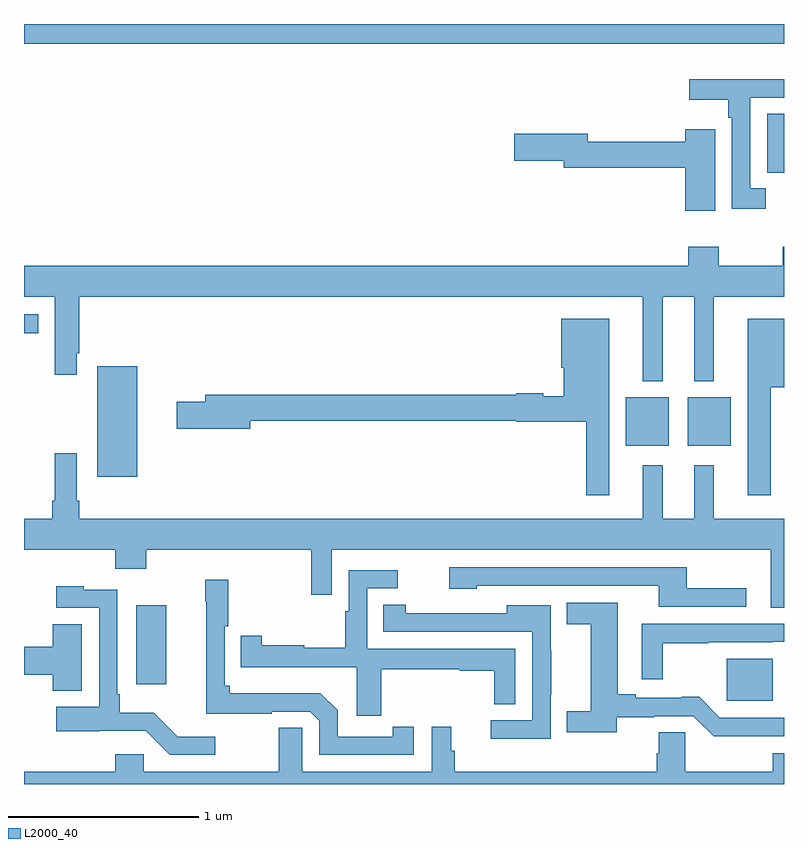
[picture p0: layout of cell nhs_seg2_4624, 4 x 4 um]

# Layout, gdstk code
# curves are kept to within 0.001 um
import gdstk
lib = gdstk.Library(unit=1e-6, precision=1e-09)
def R(c, l, rs):  # rectangles x0, y0, x1, y1
    for r in rs: c.add(gdstk.rectangle(r[:2], r[2:], *l))
def P(c, l, *ps):  # polygons
    for p in ps: c.add(gdstk.Polygon(p, *l))
L2000_40 = (2000, 40)

nhs_seg2_4624 = lib.new_cell('nhs_seg2_4624')
R(nhs_seg2_4624, L2000_40, [(366.698,584.237,366.94,584.458), (363.59,584.325,363.748,584.74), (363.386,585.416,363.595,586), (366.167,585.581,366.394,585.835), (366.494,585.581,366.721,585.835), (363,586.172,363.076,586.273), (366.911,587.016,367,587.327), (363,587.696,367,587.8)])
P(nhs_seg2_4624, L2000_40, [(366.904,586.935),(366.822,586.935),(366.822,587.412),(367,587.412),(367,587.508),(366.919,587.508),(366.919,587.51),(366.501,587.51),(366.501,587.402),(366.706,587.402),(366.706,587.306),(366.726,587.306),(366.726,586.827),(366.904,586.827)],
  [(366.637,587.245),(366.479,587.245),(366.479,587.18),(365.968,587.18),(365.968,587.223),(365.58,587.223),(365.58,587.081),(365.84,587.081),(365.84,587.044),(366.479,587.044),(366.479,586.818),(366.637,586.818)],
  [(366.361,586.364),(366.527,586.364),(366.527,585.92),(366.631,585.92),(366.631,586.364),(367,586.364),(367,586.627),(366.994,586.627),(366.994,586.528),(366.657,586.528),(366.657,586.627),(366.497,586.627),(366.497,586.528),(363,586.528),(363,586.364),(363.161,586.364),(363.161,585.954),(363.277,585.954),(363.277,586.066),(363.29,586.066),(363.29,586.364),(366.257,586.364),(366.257,585.92),(366.361,585.92)],
  [(366.079,586.249),(365.828,586.249),(365.828,585.99),(365.84,585.99),(365.84,585.841),(365.732,585.841),(365.732,585.856),(365.592,585.856),(365.592,585.848),(363.953,585.848),(363.953,585.812),(363.804,585.812),(363.804,585.67),(364.192,585.67),(364.192,585.712),(365.592,585.712),(365.592,585.707),(365.958,585.707),(365.958,585.321),(366.079,585.321)],
  [(366.931,585.887),(367,585.887),(367,586.249),(366.809,586.249),(366.809,585.321),(366.931,585.321)],
  [(367,585.196),(366.631,585.196),(366.631,585.478),(366.527,585.478),(366.527,585.196),(366.361,585.196),(366.361,585.478),(366.257,585.478),(366.257,585.196),(363.29,585.196),(363.29,585.292),(363.277,585.292),(363.277,585.541),(363.161,585.541),(363.161,585.292),(363.149,585.292),(363.149,585.196),(363,585.196),(363,585.032),(363.479,585.032),(363.479,584.933),(363.644,584.933),(363.644,585.032),(364.512,585.032),(364.512,584.796),(364.62,584.796),(364.62,585.032),(366.929,585.032),(366.929,584.728),(367,584.728)],
  [(366.802,584.831),(366.489,584.831),(366.489,584.94),(365.238,584.94),(365.238,584.828),(365.382,584.828),(365.382,584.844),(366.341,584.844),(366.341,584.733),(366.802,584.733)],
  [(364.879,584.403),(365.293,584.403),(365.293,584.395),(365.474,584.395),(365.474,584.221),(365.586,584.221),(365.586,584.511),(364.806,584.511),(364.806,584.829),(364.966,584.829),(364.966,584.925),(364.71,584.925),(364.71,584.708),(364.69,584.708),(364.69,584.516),(364.476,584.516),(364.476,584.531),(364.252,584.531),(364.252,584.581),(364.141,584.581),(364.141,584.414),(364.751,584.414),(364.751,584.16),(364.879,584.16)],
  [(365.05,584.101),(364.94,584.101),(364.94,584.049),(364.65,584.049),(364.65,584.187),(364.559,584.278),(364.084,584.278),(364.084,584.316),(364.056,584.316),(364.056,584.63),(364.076,584.63),(364.076,584.875),(363.953,584.875),(363.953,584.762),(363.959,584.762),(363.959,584.169),(364.303,584.169),(364.303,584.181),(364.506,584.181),(364.554,584.133),(364.554,583.953),(365.05,583.953)],
  [(364.006,584.05),(363.808,584.05),(363.682,584.176),(363.505,584.176),(363.505,584.272),(363.492,584.272),(363.492,584.823),(363.315,584.823),(363.315,584.842),(363.171,584.842),(363.171,584.727),(363.396,584.727),(363.396,584.206),(363.171,584.206),(363.171,584.078),(363.641,584.079),(363.767,583.953),(364.006,583.953)],
  [(366.851,584.052),(367,584.052),(367,584.148),(366.663,584.148),(366.553,584.258),(366.461,584.258),(366.461,584.253),(366.22,584.253),(366.22,584.273),(366.124,584.273),(366.124,584.755),(365.857,584.755),(365.857,584.641),(365.984,584.641),(365.984,584.183),(365.857,584.183),(365.857,584.072),(366.121,584.072),(366.121,584.152),(366.318,584.152),(366.318,584.157),(366.522,584.157),(366.629,584.051)],
  [(365.772,584.269),(365.774,584.269),(365.774,584.504),(365.772,584.504),(365.772,584.74),(365.54,584.74),(365.54,584.698),(365.01,584.698),(365.01,584.744),(364.891,584.744),(364.891,584.601),(365.676,584.601),(365.676,584.136),(365.457,584.136),(365.457,584.039),(365.772,584.039)],
  [(366.361,584.542),(366.602,584.542),(366.602,584.547),(366.941,584.547),(366.941,584.55),(367,584.55),(367,584.643),(366.252,584.643),(366.252,584.352),(366.361,584.352)],
  [(363.304,584.642),(363.152,584.642),(363.152,584.522),(363,584.522),(363,584.375),(363.152,584.375),(363.152,584.291),(363.304,584.291)],
  [(367,583.962),(366.94,583.962),(366.94,583.864),(366.48,583.864),(366.48,584.072),(366.341,584.072),(366.341,583.962),(366.329,583.962),(366.329,583.864),(365.266,583.864),(365.266,583.974),(365.248,583.974),(365.248,584.101),(365.147,584.101),(365.147,583.864),(364.464,583.864),(364.464,584.096),(364.342,584.096),(364.342,583.864),(363.63,583.864),(363.63,583.957),(363.479,583.957),(363.479,583.864),(363,583.864),(363,583.8),(367,583.8)])

lib.write_gds('nhs_seg2_4624.gds')
